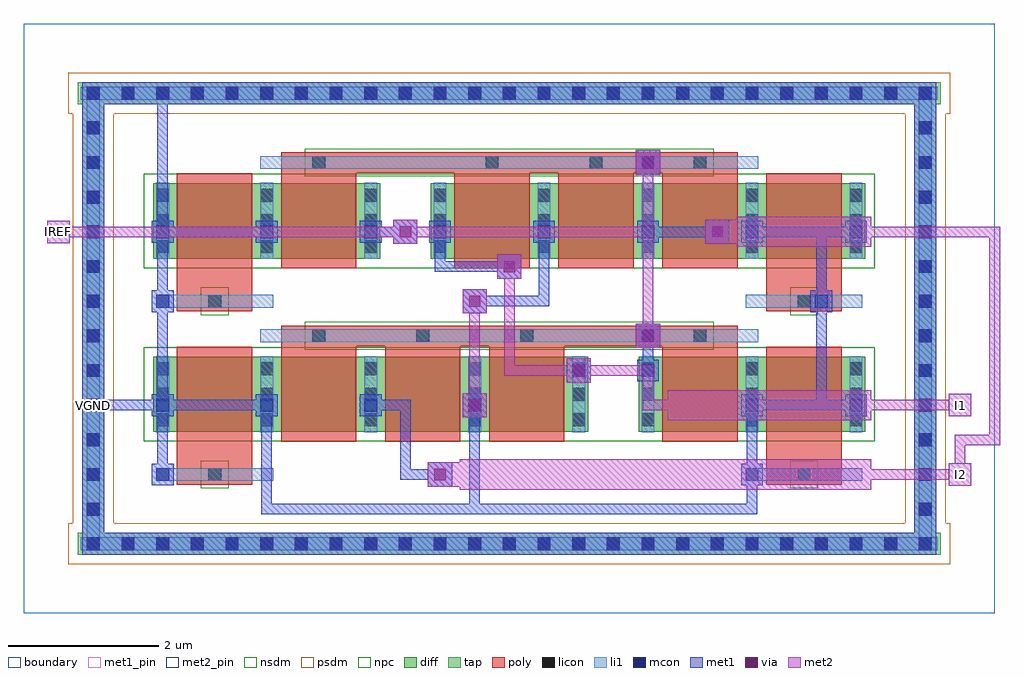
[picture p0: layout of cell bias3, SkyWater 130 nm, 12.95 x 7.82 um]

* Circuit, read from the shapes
.subckt bias3 I1 I2 IREF VGND
XM1 VGND VGND VGND VGND sky130_fd_pr__nfet_01v8 w=1 l=1 m=4
XM2 I2 IREF VGND VGND sky130_fd_pr__nfet_01v8 w=1 l=1 m=4
XM3 IREF IREF VGND VGND sky130_fd_pr__nfet_01v8 w=1 l=1 m=2
XM4 VGND IREF I1 VGND sky130_fd_pr__nfet_01v8 w=1 l=1 m=2
.ends

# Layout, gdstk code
import gdstk
lib = gdstk.Library(unit=1e-6, precision=1e-09)
def R(c, l, rs):  # rectangles x0, y0, x1, y1
    for r in rs: c.add(gdstk.rectangle(r[:2], r[2:], *l))
def A(c, l, x, y, w, h, nx, ny, dx, dy):  # array of equal rectangles
    R(c, l, [(x+i*dx, y+j*dy, x+i*dx+w, y+j*dy+h) for i in range(nx) for j in range(ny)])
diff = (65, 20)
tap = (65, 44)
poly = (66, 20)
licon = (66, 44)
li1 = (67, 20)
mcon = (67, 44)
met1_pin = (68, 16)
met1 = (68, 20)
via = (68, 44)
met2_pin = (69, 16)
met2 = (69, 20)
nsdm = (93, 44)
psdm = (94, 20)
npc = (95, 20)
boundary = (235, 4)

bias3 = lib.new_cell('bias3')
R(bias3, diff, [(1.715,2.405,7.485,3.405), (8.155,2.405,11.165,3.405), (1.715,4.705,4.725,5.705), (5.395,4.705,11.165,5.705)])
R(bias3, tap, [(0.715,0.775,12.165,1.065), (0.775,0.775,1.065,7.045), (11.815,0.775,12.105,7.045), (0.715,6.755,12.165,7.045)])
A(bias3, poly, 3.41, 2.275, 1, 1.405, 3, 1, 1.38, 0)
A(bias3, poly, 5.71, 4.575, 1, 1.405, 3, 1, 1.38, 0)
R(bias3, poly, [(2.03,1.705,3.03,1.975), (9.85,1.705,10.85,1.975), (2.03,1.84,3.03,3.535), (9.85,1.84,10.85,3.535), (8.47,2.275,9.47,3.68), (3.41,3.545,9.47,3.815), (2.03,4.005,3.03,4.275), (9.85,4.005,10.85,4.275), (2.03,4.14,3.03,5.835), (9.85,4.14,10.85,5.835), (3.41,4.575,4.41,5.98), (3.41,5.845,9.47,6.115)])
A(bias3, licon, 0.835, 0.835, 0.17, 0.17, 25, 2, 0.46, 5.98)
A(bias3, licon, 0.835, 1.295, 0.17, 0.17, 1, 12, 0, 0.46)
A(bias3, licon, 11.875, 1.295, 0.17, 0.17, 1, 12, 0, 0.46)
A(bias3, licon, 1.755, 2.48, 0.17, 0.17, 5, 3, 1.38, 0.34)
A(bias3, licon, 8.195, 2.48, 0.17, 0.17, 3, 3, 1.38, 0.34)
A(bias3, licon, 3.825, 3.595, 0.17, 0.17, 3, 1, 1.38, 0)
A(bias3, licon, 1.755, 4.78, 0.17, 0.17, 3, 3, 1.38, 0.34)
A(bias3, licon, 5.435, 4.78, 0.17, 0.17, 5, 3, 1.38, 0.34)
A(bias3, licon, 6.125, 5.895, 0.17, 0.17, 3, 1, 1.38, 0)
R(bias3, licon, [(2.445,1.755,2.615,1.925), (10.265,1.755,10.435,1.925), (8.885,3.595,9.055,3.765), (2.445,4.055,2.615,4.225), (10.265,4.055,10.435,4.225), (3.825,5.895,3.995,6.065)])
A(bias3, li1, 1.755, 2.4, 0.17, 1.01, 5, 1, 1.38, 0)
A(bias3, li1, 8.195, 2.4, 0.17, 1.01, 3, 1, 1.38, 0)
A(bias3, li1, 1.755, 4.7, 0.17, 1.01, 3, 1, 1.38, 0)
A(bias3, li1, 5.435, 4.7, 0.17, 1.01, 5, 1, 1.38, 0)
R(bias3, li1, [(0.755,0.835,12.125,1.005), (0.835,0.835,1.005,6.985), (11.875,0.835,12.045,6.985), (1.755,1.755,3.305,1.925), (9.575,1.755,11.125,1.925), (3.135,3.595,9.745,3.765), (1.755,4.055,3.305,4.225), (9.575,4.055,11.125,4.225), (3.135,5.895,9.745,6.065), (0.755,6.815,12.125,6.985)])
A(bias3, mcon, 0.835, 0.835, 0.17, 0.17, 25, 2, 0.46, 5.98)
A(bias3, mcon, 0.835, 1.295, 0.17, 0.17, 1, 12, 0, 0.46)
A(bias3, mcon, 11.875, 1.295, 0.17, 0.17, 1, 12, 0, 0.46)
A(bias3, mcon, 1.755, 2.675, 0.17, 0.17, 4, 1, 1.38, 0)
A(bias3, mcon, 1.755, 4.975, 0.17, 0.17, 3, 1, 1.38, 0)
A(bias3, mcon, 5.435, 4.975, 0.17, 0.17, 5, 1, 1.38, 0)
R(bias3, mcon, [(1.755,1.755,1.925,1.925), (9.575,1.755,9.745,1.925), (9.575,2.675,9.745,2.845), (10.955,2.675,11.125,2.845), (7.275,3.135,7.445,3.305), (8.195,3.135,8.365,3.305), (8.195,3.595,8.365,3.765), (1.755,4.055,1.925,4.225), (10.495,4.055,10.665,4.225), (8.195,5.895,8.365,6.065)])
R(bias3, met1_pin, [(0.85,2.69,0.99,2.83)])
A(bias3, met1, 1.695, 2.615, 0.29, 0.29, 4, 1, 1.38, 0)
A(bias3, met1, 1.695, 4.915, 0.29, 0.29, 3, 1, 1.38, 0)
A(bias3, met1, 5.375, 4.915, 0.29, 0.29, 5, 1, 1.38, 0)
R(bias3, met1, [(0.775,0.775,12.105,1.065), (0.775,0.775,1.065,7.045), (11.815,0.775,12.105,7.045), (3.15,1.31,3.29,2.83), (3.15,1.31,6.05,1.45), (5.91,1.31,6.05,2.83), (5.91,1.31,9.73,1.45), (9.59,1.31,9.73,1.91), (5.36,1.68,5.68,2), (1.695,1.695,1.985,1.985), (9.515,1.695,9.805,1.985), (1.77,1.77,1.91,2.83), (4.99,1.77,5.59,1.91), (4.99,1.77,5.13,2.83), (9.59,1.77,9.73,2.83), (5.82,2.6,6.14,2.92), (9.515,2.615,9.805,2.905), (10.895,2.615,11.185,2.905), (0.85,2.69,1.91,2.83), (0.85,2.69,0.99,2.83), (1.77,2.69,3.29,2.83), (1.77,2.69,1.91,4.21), (4.53,2.69,5.13,2.83), (9.59,2.69,11.11,2.83), (10.51,2.69,10.65,4.21), (7.2,3.06,7.52,3.38), (7.215,3.075,7.505,3.365), (8.135,3.075,8.425,3.365), (8.21,3.15,8.35,3.75), (8.12,3.52,8.44,3.84), (8.135,3.535,8.425,3.825), (5.82,3.98,6.14,4.3), (1.695,3.995,1.985,4.285), (10.435,3.995,10.725,4.285), (1.77,4.07,1.91,5.13), (5.91,4.07,6.97,4.21), (6.83,4.07,6.97,5.13), (10.51,4.07,10.65,5.13), (6.28,4.44,6.6,4.76), (5.45,4.53,5.59,5.13), (5.45,4.53,6.51,4.67), (4.9,4.9,5.22,5.22), (9.04,4.9,9.36,5.22), (1.77,4.99,3.29,5.13), (1.77,4.99,1.91,6.97), (4.53,4.99,5.13,5.13), (8.21,4.99,9.27,5.13), (9.59,4.99,10.65,5.13), (10.51,4.99,11.11,5.13), (8.12,5.82,8.44,6.14), (8.135,5.835,8.425,6.125), (0.775,6.755,12.105,7.045), (1.77,6.83,1.91,6.97)])
R(bias3, via, [(5.445,1.765,5.595,1.915), (5.905,2.685,6.055,2.835), (7.285,3.145,7.435,3.295), (8.205,3.605,8.355,3.755), (5.905,4.065,6.055,4.215), (6.365,4.525,6.515,4.675), (4.985,4.985,5.135,5.135), (9.125,4.985,9.275,5.135), (8.205,5.905,8.355,6.055)])
R(bias3, met2_pin, [(12.27,1.69,12.57,1.99), (12.27,2.61,12.57,2.91), (0.31,4.91,0.61,5.21)])
R(bias3, met2, [(5.78,1.64,11.24,2.04), (5.36,1.68,5.68,2), (5.68,1.68,5.78,2), (12.27,1.69,12.57,1.99), (5.45,1.77,6.05,1.91), (10.97,1.77,12.49,1.91), (12.35,1.77,12.49,1.91), (12.35,1.77,12.49,2.37), (12.35,2.23,12.95,2.37), (12.81,2.23,12.95,5.13), (8.54,2.56,11.24,2.96), (5.82,2.6,6.14,2.92), (12.27,2.61,12.57,2.91), (5.91,2.69,6.05,4.21), (8.21,2.69,8.35,3.29), (8.21,2.69,8.81,2.83), (10.97,2.69,12.49,2.83), (12.35,2.69,12.49,2.83), (7.2,3.06,7.52,3.38), (6.37,3.15,7.43,3.29), (6.37,3.15,6.51,4.67), (7.29,3.15,8.35,3.29), (8.12,3.52,8.44,3.84), (8.21,3.61,8.35,6.05), (5.82,3.98,6.14,4.3), (6.28,4.44,6.6,4.76), (9.46,4.86,11.24,5.26), (4.9,4.9,5.22,5.22), (9.04,4.9,9.36,5.22), (9.36,4.9,9.46,5.22), (0.31,4.91,0.61,5.21), (0.39,4.99,0.53,5.13), (0.39,4.99,5.13,5.13), (4.99,4.99,8.35,5.13), (9.13,4.99,9.73,5.13), (10.97,4.99,12.95,5.13), (8.12,5.82,8.44,6.14)])
R(bias3, nsdm, [(1.59,2.28,11.29,3.53), (1.59,4.58,11.29,5.83)])
R(bias3, psdm, [(0.59,0.65,12.29,1.19), (0.65,1.19,1.19,6.63), (11.69,1.19,12.23,6.63), (0.59,6.63,12.29,7.17)])
R(bias3, npc, [(2.345,1.655,2.715,2.025), (10.165,1.655,10.535,2.025), (3.725,3.495,9.155,3.865), (2.345,3.955,2.715,4.325), (10.165,3.955,10.535,4.325), (3.725,5.795,9.155,6.165)])
R(bias3, boundary, [(0,0,12.88,7.82)])
bias3.add(gdstk.Label('VGND', (0.92,2.76), layer=68, texttype=5))
bias3.add(gdstk.Label('IREF', (0.46,5.06), layer=69, texttype=5))
bias3.add(gdstk.Label('I1', (12.42,2.76), layer=69, texttype=5))
bias3.add(gdstk.Label('I2', (12.42,1.84), layer=69, texttype=5))
bias3.add(gdstk.Label('VGND', (0.92,2.76), layer=68, texttype=16))
bias3.add(gdstk.Label('IREF', (0.46,5.06), layer=69, texttype=16))
bias3.add(gdstk.Label('I1', (12.42,2.76), layer=69, texttype=16))
bias3.add(gdstk.Label('I2', (12.42,1.84), layer=69, texttype=16))

lib.write_gds('bias3.gds')
